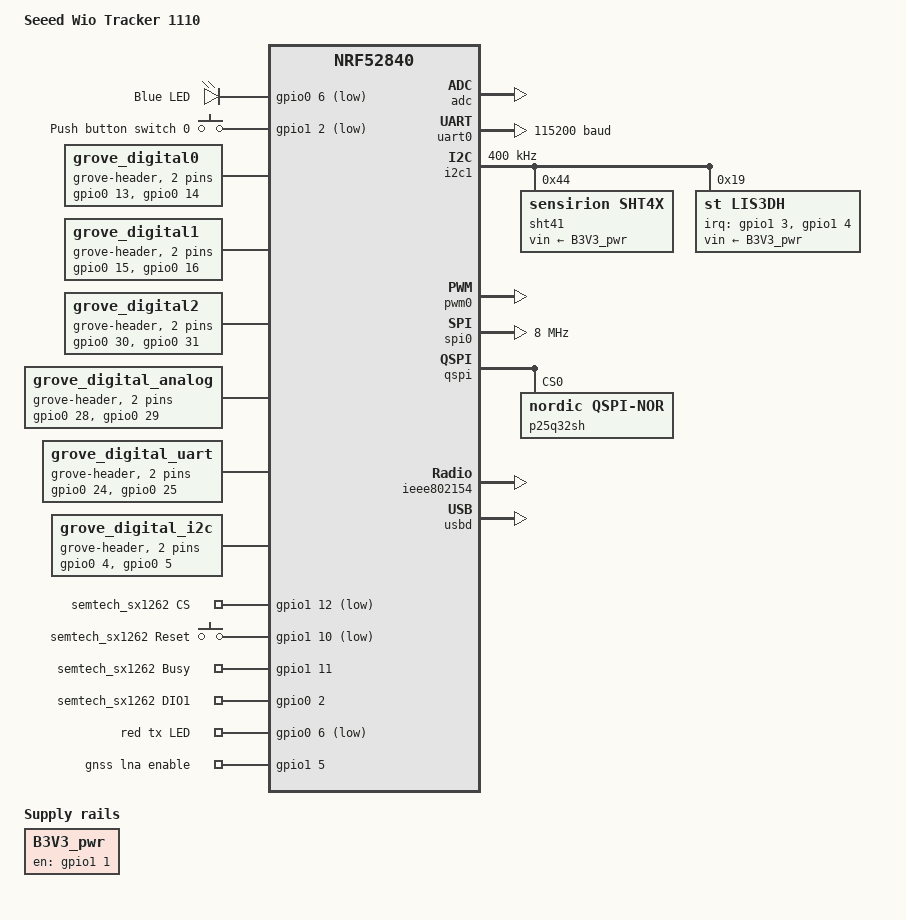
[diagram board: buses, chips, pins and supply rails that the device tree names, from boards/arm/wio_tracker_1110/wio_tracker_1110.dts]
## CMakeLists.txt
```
cmake_minimum_required(VERSION 3.20.0)

find_package(Zephyr REQUIRED HINTS $ENV{ZEPHYR_BASE})
project(wm1110-asset-tracker)

FILE(GLOB app_sources
    src/*.c
    src/sidewalk/*.c
    src/peripherals/*.c
)

target_sources(app PRIVATE ${app_sources})

zephyr_include_directories(
    include
)
```

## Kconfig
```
mainmenu "AWS IoT Sidewalk Asset Tracker"

menu "Asset Tracker"

config TRACKER_LOG
	bool
	default TRACKER
	imply LOG
	help
	  Asset Tracker log module

config BLE_CONN_TIMEOUT
        prompt "Sidewalk BLE connection timeout (s)"
        int
        default 240
        help
               Timeout for Sidewalk gateway to make connection for BLE uplinks.

config LONG_PRESS_PER_MS
        prompt "Long button press time (ms)"
        int
        default 10000
        help
               Period of time in ms for a button press to be considered a long press.

config IN_MOTION_PER_M
        prompt "In motion period (m)"
        int
        default 15
        help
               Time in seconds device will stay in the motion state from last motion event.

config MOTION_SCAN_PER_S
        prompt "Motion uplink period (s)"
        int
        default 240
        help
               Delay in seconds between scanning and uplinking when the device is in motion.

config STATIC_SCAN_PER_M
        prompt "Static uplink period (m)"
        int
        default 60
        help
               Delay in minutes between scanning and uplinking when the device is static.

config ASSET_TRACKER_CLI
        prompt "Enable the Asset Tracker serial shell CLI"
        bool
        default y
        help
               Enables(y) or disables(n) the zephyr shell for the Asset Tracker.

config GNSS_SCAN_MODE_STATIC
        prompt "Use STATIC GNSS scan mode for better accuracy"
        bool
        default n
        help
               When enabled, uses STATIC scan mode which performs longer scans
               (~30+ seconds) for better accuracy (10-50m).
               When disabled, uses MOBILE scan mode with multiple quick scans
               (~3-5 seconds each) optimized for moving objects.
               STATIC mode uses more power but provides better accuracy.

endmenu

module = TRACKER
module-str = Sidewalk Asset Tracker
source "${ZEPHYR_BASE}/subsys/logging/Kconfig.template.log_config"

source "Kconfig.zephyr"
```

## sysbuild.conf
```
#
# Copyright (c) 2024 Seeed Studio
#
# SPDX-License-Identifier: MIT-0
#

SB_CONFIG_PARTITION_MANAGER=y
```

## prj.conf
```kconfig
CONFIG_ASSET_TRACKER_CLI=y
CONFIG_TRACKER_LOG_LEVEL_DBG=y

# Use system workqueue for BT operations instead of dedicated BT Long WQ
# This avoids deadlock with CONFIG_LOG_MODE_IMMEDIATE + USB CDC ACM
CONFIG_BT_LONG_WQ=n

# Required for Sidewalk
CONFIG_STATIC_INIT_GNU=y
CONFIG_SMF=y

# Stack and Heap - required for crypto operations
CONFIG_SYSTEM_WORKQUEUE_STACK_SIZE=4096
CONFIG_HEAP_MEM_POOL_SIZE=4096
CONFIG_MBEDTLS_HEAP_SIZE=4096

# Sidewalk
CONFIG_SIDEWALK=y
# CONFIG_SIDEWALK_CRYPTO_PSA_KEY_STORAGE=n
CONFIG_SIDEWALK_THREAD_STACK_SIZE=8192
CONFIG_SIDEWALK_HEAP_SIZE=8192
CONFIG_SIDEWALK_LINK_MASK_LORA=y
CONFIG_SIDEWALK_SUBGHZ_SUPPORT=y
CONFIG_SIDEWALK_SUBGHZ_RADIO_LR1110=y
CONFIG_SIDEWALK_DFU=n
# CONFIG_SID_END_DEVICE_PERSISTENT_LINK_MASK=y

# GNSS Scan Mode: y=STATIC (longer scans, better accuracy), n=MOBILE (quick scans)
CONFIG_GNSS_SCAN_MODE_STATIC=n

CONFIG_SIDEWALK_LOG_LEVEL_INF=y
# CONFIG_SIDEWALK_LOG_LEVEL_OFF=y
# CONFIG_SIDEWALK_LOG_LEVEL_WRN=y
CONFIG_NVS_LOG_LEVEL_WRN=y
CONFIG_SIDEWALK_BLE_ADAPTER_LOG_LEVEL_OFF=y
CONFIG_BT_HCI_DRIVER_LOG_LEVEL_OFF=y
CONFIG_BT_HCI_CORE_LOG_LEVEL_OFF=y
CONFIG_SPI_BUS_LOG_LEVEL_OFF=y
# CONFIG_SPI_LOG_LEVEL_DBG=y


CONFIG_SIDEWALK_BLE_ADV_INT_TRANSITION=3600
CONFIG_SIDEWALK_BLE_ADV_INT_FAST=320
# CONFIG_BLE_CONN_TIMEOUT=1800


CONFIG_ADC_SHELL=n
CONFIG_DEVICE_SHELL=n
CONFIG_DEVMEM_SHELL=n
CONFIG_FLASH_SHELL=n
CONFIG_HWINFO_SHELL=n
CONFIG_I2C_SHELL=n
CONFIG_CLOCK_CONTROL_NRF_SHELL=n
CONFIG_REGULATOR_SHELL=n
CONFIG_SENSOR_SHELL=n

CONFIG_NEWLIB_LIBC_FLOAT_SCANF=n

CONFIG_GPIO=y
CONFIG_LED=y
CONFIG_SENSOR=y
CONFIG_ADC=y
CONFIG_I2C=y
CONFIG_SPI=y
CONFIG_REGULATOR=y
CONFIG_PM_DEVICE=y
CONFIG_SHT4X=y
CONFIG_LIS2DH=y

CONFIG_PINCTRL=y
CONFIG_GPIO_AS_PINRESET=y

CONFIG_STDOUT_CONSOLE=y
CONFIG_UART_CONSOLE=y
CONFIG_UART_LINE_CTRL=y
CONFIG_CONSOLE=y
CONFIG_SERIAL=y
CONFIG_LOG=y
CONFIG_LOG_BUFFER_SIZE=4096

CONFIG_RESET_ON_FATAL_ERROR=y
CONFIG_NEWLIB_LIBC=y
CONFIG_NEWLIB_LIBC_FLOAT_PRINTF=y
CONFIG_CBPRINTF_FP_SUPPORT=y
CONFIG_LOG_PRINTK=y
CONFIG_LOG_MODE_IMMEDIATE=y

CONFIG_USB_DEVICE_STACK=y
CONFIG_USB_CDC_ACM_LOG_LEVEL_OFF=y
CONFIG_USB_DEVICE_MANUFACTURER="Seeed Technology"
CONFIG_USB_DEVICE_PRODUCT="Asset Tracker"
CONFIG_USB_DEVICE_VID=0x2886
CONFIG_USB_DEVICE_PID=0x0052

CONFIG_SHELL=y
CONFIG_SHELL_PROMPT_UART="asset-tracker > "

CONFIG_BT_DEVICE_NAME="Sid Tracker"

CONFIG_RESET_ON_FATAL_ERROR=n
CONFIG_USE_DT_CODE_PARTITION=y
CONFIG_BUILD_OUTPUT_UF2=y
CONFIG_KERNEL_BIN_NAME="AssetTrackerDeviceApp"

CONFIG_PARTITION_MANAGER_ENABLED=y

# NVS settings storage - 64KB partition = 16 sectors of 4KB each
CONFIG_SETTINGS_NVS_SECTOR_COUNT=16

# # Debug logging for crypto/storage issues
# CONFIG_SIDEWALK_LOG_LEVEL_DBG=y
# CONFIG_SIDEWALK_CRYPTO_LOG_LEVEL_DBG=y
# CONFIG_NVS_LOG_LEVEL_DBG=y
# CONFIG_SETTINGS_LOG_LEVEL_DBG=y
# CONFIG_BT_SMP_LOG_LEVEL_DBG=y
# CONFIG_TRACKER_LOG_LEVEL_DBG=y

# Enable ED25519/EDDSA support in software crypto (since CC3XX is disabled for nRF52840)
CONFIG_PSA_WANT_ALG_PURE_EDDSA=y
CONFIG_PSA_WANT_ECC_TWISTED_EDWARDS_255=y
CONFIG_PSA_WANT_KEY_TYPE_ECC_KEY_PAIR_IMPORT=y

# Disable CC3XX signature driver (doesn't support ED25519 on nRF52840)
CONFIG_PSA_USE_CC3XX_ASYMMETRIC_SIGNATURE_DRIVER=n

# Use Oberon for ED25519 signatures
CONFIG_PSA_CRYPTO_DRIVER_OBERON=y

# Disable CC3XX drivers that don't support ED25519 on nRF52840
CONFIG_PSA_USE_CC3XX_ASYMMETRIC_SIGNATURE_DRIVER=n
CONFIG_PSA_USE_CC3XX_KEY_AGREEMENT_DRIVER=n
CONFIG_PSA_USE_CC3XX_ASYMMETRIC_ENCRYPTION_DRIVER=n
CONFIG_PSA_USE_CC3XX_KEY_MANAGEMENT_DRIVER=n
```

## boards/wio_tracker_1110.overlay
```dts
// &uart0 {
// 	status = "disabled";
// };

// &i2c0 {
// 	status = "disabled";
// };

// &pwm0 {
// 	status = "disabled";
// };

/ {
	/* LR1110 radio GPIOs - gpio-keys compatible auto-configures as INPUT */
	lr1110_gpios {
		compatible = "gpio-keys";

		lr1110_busy_gpios: busy {
			gpios = <&gpio1 11 GPIO_ACTIVE_HIGH>;
			label = "LR1110 Busy";
		};

		lr1110_event_gpios: event {
			gpios = <&gpio0 2 GPIO_ACTIVE_HIGH>;
			label = "LR1110 Event/DIO1";
		};
	};
};
```

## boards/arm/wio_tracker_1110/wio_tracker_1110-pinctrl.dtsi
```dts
/*
 * Copyright (c) 2022 Nordic Semiconductor
 * SPDX-License-Identifier: Apache-2.0
 */

&pinctrl {
	uart0_default: uart0_default {
		group1 {
			psels = <NRF_PSEL(UART_TX, 0, 25)>;
		};
		group2 {
			psels = <NRF_PSEL(UART_RX, 0, 24)>;
		bias-pull-up;
		};
	};

	uart0_sleep: uart0_sleep {
		group1 {
			psels = <NRF_PSEL(UART_TX, 0, 25)>,
			<NRF_PSEL(UART_RX, 0, 24)>;
		low-power-enable;
		};
	};

	i2c1_default: i2c1_default {
		group1 {
			psels = <NRF_PSEL(TWIM_SDA, 0, 5)>,
				<NRF_PSEL(TWIM_SCL, 0, 4)>;
		};
	};

	i2c1_sleep: i2c1_sleep {
		group1 {
			psels = <NRF_PSEL(TWIM_SDA, 0, 5)>,
				<NRF_PSEL(TWIM_SCL, 0, 4)>;
			low-power-enable;
		};
	};
	
	pwm0_default: pwm0_default {
		group1 {
			psels = <NRF_PSEL(PWM_OUT0, 0, 7)>;
			nordic,invert;
		};
	};

	pwm0_sleep: pwm0_sleep {
		group1 {
			psels = <NRF_PSEL(PWM_OUT0, 0, 7)>;
			low-power-enable;
		};
	};

	spi0_default: spi0_default {
		group1 {
			psels = <NRF_PSEL(SPIM_SCK, 1, 13)>,
					<NRF_PSEL(SPIM_MISO, 1, 15)>,
					<NRF_PSEL(SPIM_MOSI, 1, 14)>;
		};
	};

	spi0_sleep: spi0_sleep {
		group1 {
			psels = <NRF_PSEL(SPIM_SCK, 1, 13)>,
					<NRF_PSEL(SPIM_MISO, 1, 15)>,
					<NRF_PSEL(SPIM_MOSI, 1, 14)>;
			low-power-enable;
		};
	};

	qspi_default: qspi_default {
		group1 {
			psels = <NRF_PSEL(QSPI_SCK, 0, 19)>,
					<NRF_PSEL(QSPI_IO0, 0, 17)>,
					<NRF_PSEL(QSPI_IO1, 0, 22)>,
					<NRF_PSEL(QSPI_IO2, 0, 23)>,
					<NRF_PSEL(QSPI_IO3, 0, 21)>,
					<NRF_PSEL(QSPI_CSN, 0, 20)>;
			nordic,drive-mode = <NRF_DRIVE_H0H1>;
		};
	};

	qspi_sleep: qspi_sleep {
		group1 {
			psels = <NRF_PSEL(QSPI_SCK, 0, 19)>,
					<NRF_PSEL(QSPI_IO0, 0, 17)>,
					<NRF_PSEL(QSPI_IO1, 0, 22)>,
					<NRF_PSEL(QSPI_IO2, 0, 23)>,
					<NRF_PSEL(QSPI_IO3, 0, 21)>;
			low-power-enable;
		};
		group2 {
			psels = <NRF_PSEL(QSPI_CSN, 0, 20)>;
			low-power-enable;
			bias-pull-up;
		};
	};
};
```

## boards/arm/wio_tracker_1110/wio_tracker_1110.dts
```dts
/*
 * Copyright (c) 2017 Linaro Limited
 *
 * SPDX-License-Identifier: Apache-2.0
 */

/dts-v1/;
#include <nordic/nrf52840_qiaa.dtsi>
#include <zephyr/dt-bindings/gpio/gpio.h>
#include <zephyr/dt-bindings/led/led.h>
#include "wio_tracker_1110-pinctrl.dtsi"
#include <zephyr/dt-bindings/i2c/i2c.h>

/ {
	model = "Seeed Wio Tracker 1110";
	compatible = "seeed,wio-tracker-1110";

	chosen {
		zephyr,console = &usb_cdc_acm_uart;
		zephyr,shell-uart = &usb_cdc_acm_uart;
		// zephyr,uart-mcumgr = &usb_cdc_acm_uart;
		// zephyr,bt-mon-uart = &usb_cdc_acm_uart;
		// zephyr,bt-c2h-uart = &usb_cdc_acm_uart;
		nordic,pm-ext-flash = &p25q32sh;
		zephyr,sram = &sram0;
		zephyr,flash = &flash0;
		zephyr,code-partition = &slot0_partition;
		zephyr,ieee802154 = &ieee802154;
	};

	leds {
		compatible = "gpio-leds";
		led0: led_0 {
			gpios = <&gpio0 6 GPIO_ACTIVE_LOW>;
			label = "Blue LED";
		};
		/* The led `GROVE` is not controlled by MCU, 
		it's on when the power for Grove connectors are gated on via P1.01. */
	};

	buttons {
		compatible = "gpio-keys";
		button0: button_0 {
			gpios = <&gpio1 2 (GPIO_PULL_UP | GPIO_ACTIVE_LOW)>;
			label = "Push button switch 0";
		};
	};

	grove_digital0: grove_digital0 {
		compatible = "grove-header";
		#gpio-cells = <2>;
		gpio-map-mask = <0xffffffff 0xffffffc0>;
		gpio-map-pass-thru = <0 0x3f>;
		gpio-map = <0 0 &gpio0 13 0>,	/* D13 */
				<1 0 &gpio0 14 0>;		/* D14 */
	};

	grove_digital1: grove_digital1 {
		compatible = "grove-header";
		#gpio-cells = <2>;
		gpio-map-mask = <0xffffffff 0xffffffc0>;
		gpio-map-pass-thru = <0 0x3f>;
		gpio-map = <0 0 &gpio0 15 0>,	/* D15 */
				<1 0 &gpio0 16 0>;		/* D16 */
	};

	grove_digital2: grove_digital2 {
		compatible = "grove-header";
		#gpio-cells = <2>;
		gpio-map-mask = <0xffffffff 0xffffffc0>;
		gpio-map-pass-thru = <0 0x3f>;
		gpio-map = <0 0 &gpio0 30 0>,	/* D30 */
				<1 0 &gpio0 31 0>;		/* D31 */
	};

	/* use Analog header as digital pins */
	grove_digital_analog: grove_digital_analog {
		compatible = "grove-header";
		#gpio-cells = <2>;
		gpio-map-mask = <0xffffffff 0xffffffc0>;
		gpio-map-pass-thru = <0 0x3f>;
		gpio-map = <0 0 &gpio0 28 0>,	/* D28 */
				<1 0 &gpio0 29 0>;		/* D29 */
	};

	/* use UART header as digital pins */
	grove_digital_uart: grove_digital_uart {
		compatible = "grove-header";
		#gpio-cells = <2>;
		gpio-map-mask = <0xffffffff 0xffffffc0>;
		gpio-map-pass-thru = <0 0x3f>;
		gpio-map = <0 0 &gpio0 24 0>,	/* D24 */
				<1 0 &gpio0 25 0>;		/* D25 */
	};

	/* use I2C header as digital pins */
	grove_digital_i2c: grove_digital_i2c {
		compatible = "grove-header";
		#gpio-cells = <2>;
		gpio-map-mask = <0xffffffff 0xffffffc0>;
		gpio-map-pass-thru = <0 0x3f>;
		gpio-map = <0 0 &gpio0 4 0>,	/* D4 */
				<1 0 &gpio0 5 0>;		/* D5 */
	};

	semtech_gpios {
		compatible = "gpio-keys";
		semtech_sx1262_cs: cs {
			gpios = <&gpio1 12 GPIO_ACTIVE_LOW>;
			label = "semtech_sx1262 CS";
		};
		semtech_sx1262_reset_gpios: reset {
			gpios = <&gpio1 10 GPIO_ACTIVE_LOW>;
			label = "semtech_sx1262 Reset";
		};
		semtech_sx1262_busy_gpios: busy {
			gpios = <&gpio1 11 GPIO_ACTIVE_HIGH>;
			label = "semtech_sx1262 Busy";
		};
		/*semtech_sx1262_antenna_enable_gpios: antena_enable {
			gpios = <&gpio1 0xa GPIO_ACTIVE_HIGH>;
			label = "semtech_sx1262 Antena Enable";
		};*/
		semtech_sx1262_dio1_gpios: dio1 {
			gpios = <&gpio0 2 GPIO_ACTIVE_HIGH>;
			label = "semtech_sx1262 DIO1";
		};
		radio_led_tx: led_tx {
			gpios = <&gpio0 6 GPIO_ACTIVE_LOW>;
			label = "red tx LED";
		};
		/*radio_led_rx: led_rx {
			gpios = <&gpio0 0x1f GPIO_ACTIVE_HIGH>;
			label = "green rx LED";
		};
		radio_led_sniff: led_sniff {
			gpios = <&gpio1 0x5 GPIO_ACTIVE_HIGH>;
			label = "yellow LED";
		};*/
		radio_gnss_lna: gnss_lna {
			gpios = <&gpio1 5 GPIO_ACTIVE_HIGH>;
			label = "gnss lna enable";
		};
	};

	/* Regulators */
	B3V3_pwr: grove_power_3v3_en {
		compatible = "regulator-fixed";
		regulator-name = "grove_headers_power_3v3_enable";
		enable-gpios = <&gpio1 1 GPIO_ACTIVE_HIGH>;
		regulator-boot-on;
		startup-delay-us=<20000>;
		//delay needed to allow lis3dh to power up before driver init
	};

	/* These aliases are provided for compatibility with samples */
	aliases {
		led0 = &led0;
		sw0 = &button0;
		button0 = &button0;
		watchdog0 = &wdt0;
		spi-flash0 = &p25q32sh;
		accel0 = &lis3dh;
	};
};

&adc {
	status = "okay";
};

&gpiote {
	status = "okay";
};

&gpio0 {
	status = "okay";
};

&gpio1 {
	status = "okay";
};

grove_uart: &uart0 {
	compatible = "nordic,nrf-uarte";
	status = "okay";
	current-speed = <115200>;
	pinctrl-0 = <&uart0_default>;
	pinctrl-1 = <&uart0_sleep>;
	pinctrl-names = "default", "sleep";
};

grove_i2c: &i2c1 {
	compatible = "nordic,nrf-twim";
	status = "okay";
	pinctrl-0 = <&i2c1_default>;
	pinctrl-1 = <&i2c1_sleep>;
	pinctrl-names = "default", "sleep";
	clock-frequency = <I2C_BITRATE_FAST>;

	sht41: sht4x@44 {
		compatible = "sensirion,sht4x";
		reg = <0x44>;
		repeatability = <2>;	/* 2 = high -> 8.2 ms */
		vin-supply = < &B3V3_pwr >;
	};

	lis3dh: lis3dh@19 {
		compatible = "st,lis3dh", "st,lis2dh";
		reg = <0x19>;
		irq-gpios = <&gpio1 3 GPIO_ACTIVE_HIGH>,	/* P1.03 = INT1 */
				<&gpio1 4 GPIO_ACTIVE_HIGH>;		/* P1.04 = INT2 */
		// anym-on-int1;
		// disconnect-sdo-sa0-pull-up;
		vin-supply = < &B3V3_pwr >;
	};
};

&pwm0 {
	/* assigned to one of the trace pins temporarily */
	status = "okay";
	pinctrl-0 = <&pwm0_default>;
	pinctrl-1 = <&pwm0_sleep>;
	pinctrl-names = "default", "sleep";
};

sid_semtech: &spi0 {
	/* inside the WM1110 module */
	compatible = "nordic,nrf-spi";
	status = "okay";
	pinctrl-0 = <&spi0_default>;
	pinctrl-1 = <&spi0_sleep>;
	pinctrl-names = "default", "sleep";
	clock-frequency = <DT_FREQ_M(8)>;
};

&qspi {
	status = "okay";
	pinctrl-0 = <&qspi_default>;
	pinctrl-1 = <&qspi_sleep>;
	pinctrl-names = "default", "sleep";
	p25q32sh: p25q32sh@0 {
		compatible = "nordic,qspi-nor";
		reg = <0>;
		sck-frequency = <100000000>;
		quad-enable-requirements = "S2B1v1";
		jedec-id = [85 60 16];
		sfdp-bfp = [
			e5 20 f1 ff  ff ff ff 00  44 eb 08 6b  08 3b 80 bb
			ee ff ff ff  ff ff 00 ff  ff ff 00 ff  0c 20 0f 52
			10 d8 08 81
		];
		size = <33554432>;
		has-dpd;
		t-enter-dpd = <3000>;
		t-exit-dpd = <8000>;
	};
};

&ieee802154 {
	status = "okay";
};

&flash0 {

	partitions {
		compatible = "fixed-partitions";
		#address-cells = <1>;
		#size-cells = <1>;

		boot_mbr_partition: partition@0 {
			label = "boot_mbr";
			reg = <0x00000000 0x00001000>;
		};

		slot0_partition: partition@1000 {
			label = "code";
			reg = <0x00001000 0x00d0000>;
		};

		mfg_storage: partition@d0000 {
			label = "mfg_storage";
			reg = <0x000d0000 0x0001000>;
		};

		sidewalk_storage: partition@d1000 {
			label = "sidewalk_storage";
			reg = <0x000d1000 0x0001000>;
		};

		bootloader_partition: partition@f4000 {
			label = "bootloader";
			reg = <0x000f4000 0x00008000>;
		};

		storage_partition: partition@fc000 {
			label = "nvs";
			reg = <0x00fc000 0x00002000>;
		};

		bootloader_mbr_params_partition: partition@fe000 {
			label = "bootloader_mbr_params";
			reg = <0x000fe000 0x00001000>;
		};

		bootloader_settings_partition: partition@ff000 {
			label = "bootloader_settings";
			reg = <0x000ff000 0x00001000>;
		};

	};
};

zephyr_udc0: &usbd {
	compatible = "nordic,nrf-usbd";
	status = "okay";

	usb_cdc_acm_uart: cdc-acm-uart {
		compatible = "zephyr,cdc-acm-uart";
	};
};
```

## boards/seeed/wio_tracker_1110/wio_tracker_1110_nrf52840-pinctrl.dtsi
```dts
/*
 * Copyright (c) 2022 Nordic Semiconductor
 * SPDX-License-Identifier: Apache-2.0
 */

&pinctrl {
	uart0_default: uart0_default {
		group1 {
			psels = <NRF_PSEL(UART_TX, 0, 25)>;
		};
		group2 {
			psels = <NRF_PSEL(UART_RX, 0, 24)>;
			bias-pull-up;
		};
	};

	uart0_sleep: uart0_sleep {
		group1 {
			psels = <NRF_PSEL(UART_TX, 0, 25)>,
				<NRF_PSEL(UART_RX, 0, 24)>;
			low-power-enable;
		};
	};

	i2c1_default: i2c1_default {
		group1 {
			psels = <NRF_PSEL(TWIM_SDA, 0, 5)>,
				<NRF_PSEL(TWIM_SCL, 0, 4)>;
		};
	};

	i2c1_sleep: i2c1_sleep {
		group1 {
			psels = <NRF_PSEL(TWIM_SDA, 0, 5)>,
				<NRF_PSEL(TWIM_SCL, 0, 4)>;
			low-power-enable;
		};
	};

	pwm0_default: pwm0_default {
		group1 {
			psels = <NRF_PSEL(PWM_OUT0, 0, 7)>;
			nordic,invert;
		};
	};

	pwm0_sleep: pwm0_sleep {
		group1 {
			psels = <NRF_PSEL(PWM_OUT0, 0, 7)>;
			low-power-enable;
		};
	};

	spi0_default: spi0_default {
		group1 {
			psels = <NRF_PSEL(SPIM_SCK, 1, 13)>,
				<NRF_PSEL(SPIM_MISO, 1, 15)>,
				<NRF_PSEL(SPIM_MOSI, 1, 14)>;
		};
	};

	spi0_sleep: spi0_sleep {
		group1 {
			psels = <NRF_PSEL(SPIM_SCK, 1, 13)>,
				<NRF_PSEL(SPIM_MISO, 1, 15)>,
				<NRF_PSEL(SPIM_MOSI, 1, 14)>;
			low-power-enable;
		};
	};

	qspi_default: qspi_default {
		group1 {
			psels = <NRF_PSEL(QSPI_SCK, 0, 19)>,
				<NRF_PSEL(QSPI_IO0, 0, 17)>,
				<NRF_PSEL(QSPI_IO1, 0, 22)>,
				<NRF_PSEL(QSPI_IO2, 0, 23)>,
				<NRF_PSEL(QSPI_IO3, 0, 21)>,
				<NRF_PSEL(QSPI_CSN, 0, 20)>;
			nordic,drive-mode = <NRF_DRIVE_H0H1>;
		};
	};

	qspi_sleep: qspi_sleep {
		group1 {
			psels = <NRF_PSEL(QSPI_SCK, 0, 19)>,
				<NRF_PSEL(QSPI_IO0, 0, 17)>,
				<NRF_PSEL(QSPI_IO1, 0, 22)>,
				<NRF_PSEL(QSPI_IO2, 0, 23)>,
				<NRF_PSEL(QSPI_IO3, 0, 21)>;
			low-power-enable;
		};
		group2 {
			psels = <NRF_PSEL(QSPI_CSN, 0, 20)>;
			low-power-enable;
			bias-pull-up;
		};
	};
};
```

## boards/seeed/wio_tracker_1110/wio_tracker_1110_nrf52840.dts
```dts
/*
 * Copyright (c) 2017 Linaro Limited
 * Copyright (c) 2024 Seeed Studio
 *
 * SPDX-License-Identifier: Apache-2.0
 */

/dts-v1/;
#include <nordic/nrf52840_qiaa.dtsi>
#include <zephyr/dt-bindings/gpio/gpio.h>
#include <zephyr/dt-bindings/led/led.h>
#include "wio_tracker_1110_nrf52840-pinctrl.dtsi"
#include <zephyr/dt-bindings/i2c/i2c.h>
#include <zephyr/dt-bindings/lora_lbm/lr11xx.h>

/ {
	model = "Seeed Wio Tracker 1110";
	compatible = "seeed,wio-tracker-1110";

	chosen {
		zephyr,console = &usb_cdc_acm_uart;
		zephyr,shell-uart = &usb_cdc_acm_uart;
		nordic,pm-ext-flash = &p25q32sh;
		zephyr,sram = &sram0;
		zephyr,flash = &flash0;
		zephyr,code-partition = &slot0_partition;
		zephyr,ieee802154 = &ieee802154;
		zephyr,lora-transceiver = &lora_lr1110;
	};

	leds {
		compatible = "gpio-leds";
		led0: led_0 {
			gpios = <&gpio0 6 GPIO_ACTIVE_LOW>;
			label = "Blue LED";
		};
	};

	buttons {
		compatible = "gpio-keys";
		button0: button_0 {
			gpios = <&gpio1 2 (GPIO_PULL_UP | GPIO_ACTIVE_LOW)>;
			label = "Push button switch 0";
			zephyr,code = <11>;
		};
	};

	grove_digital0: grove_digital0 {
		compatible = "grove-header";
		#gpio-cells = <2>;
		gpio-map-mask = <0xffffffff 0xffffffc0>;
		gpio-map-pass-thru = <0 0x3f>;
		gpio-map = <0 0 &gpio0 13 0>,
				<1 0 &gpio0 14 0>;
	};

	grove_digital1: grove_digital1 {
		compatible = "grove-header";
		#gpio-cells = <2>;
		gpio-map-mask = <0xffffffff 0xffffffc0>;
		gpio-map-pass-thru = <0 0x3f>;
		gpio-map = <0 0 &gpio0 15 0>,
				<1 0 &gpio0 16 0>;
	};

	grove_digital2: grove_digital2 {
		compatible = "grove-header";
		#gpio-cells = <2>;
		gpio-map-mask = <0xffffffff 0xffffffc0>;
		gpio-map-pass-thru = <0 0x3f>;
		gpio-map = <0 0 &gpio0 30 0>,
				<1 0 &gpio0 31 0>;
	};

	grove_digital_analog: grove_digital_analog {
		compatible = "grove-header";
		#gpio-cells = <2>;
		gpio-map-mask = <0xffffffff 0xffffffc0>;
		gpio-map-pass-thru = <0 0x3f>;
		gpio-map = <0 0 &gpio0 28 0>,
				<1 0 &gpio0 29 0>;
	};

	grove_digital_uart: grove_digital_uart {
		compatible = "grove-header";
		#gpio-cells = <2>;
		gpio-map-mask = <0xffffffff 0xffffffc0>;
		gpio-map-pass-thru = <0 0x3f>;
		gpio-map = <0 0 &gpio0 24 0>,
				<1 0 &gpio0 25 0>;
	};

	grove_digital_i2c: grove_digital_i2c {
		compatible = "grove-header";
		#gpio-cells = <2>;
		gpio-map-mask = <0xffffffff 0xffffffc0>;
		gpio-map-pass-thru = <0 0x3f>;
		gpio-map = <0 0 &gpio0 4 0>,
				<1 0 &gpio0 5 0>;
	};

	/* Regulators */
	B3V3_pwr: grove_power_3v3_en {
		compatible = "regulator-fixed";
		regulator-name = "grove_headers_power_3v3_enable";
		enable-gpios = <&gpio1 1 GPIO_ACTIVE_HIGH>;
		regulator-boot-on;
		startup-delay-us = <20000>;
	};

	/* These aliases are provided for compatibility with samples */
	aliases {
		led0 = &led0;
		sw0 = &button0;
		button0 = &button0;
		watchdog0 = &wdt0;
		spi-flash0 = &p25q32sh;
		accel0 = &lis3dh;
		lora-transceiver = &lora_lr1110;
	};
};

&adc {
	status = "okay";
};

&gpiote {
	status = "okay";
};

&gpio0 {
	status = "okay";
};

&gpio1 {
	status = "okay";
};

grove_uart: &uart0 {
	compatible = "nordic,nrf-uarte";
	status = "okay";
	current-speed = <115200>;
	pinctrl-0 = <&uart0_default>;
	pinctrl-1 = <&uart0_sleep>;
	pinctrl-names = "default", "sleep";
};

grove_i2c: &i2c1 {
	compatible = "nordic,nrf-twim";
	status = "okay";
	pinctrl-0 = <&i2c1_default>;
	pinctrl-1 = <&i2c1_sleep>;
	pinctrl-names = "default", "sleep";
	clock-frequency = <I2C_BITRATE_FAST>;

	sht41: sht4x@44 {
		compatible = "sensirion,sht4x";
		reg = <0x44>;
		repeatability = <2>;
		vin-supply = <&B3V3_pwr>;
	};

	lis3dh: lis3dh@19 {
		compatible = "st,lis3dh", "st,lis2dh";
		reg = <0x19>;
		irq-gpios = <&gpio1 3 GPIO_ACTIVE_HIGH>,
				<&gpio1 4 GPIO_ACTIVE_HIGH>;
		vin-supply = <&B3V3_pwr>;
	};
};

&pwm0 {
	status = "okay";
	pinctrl-0 = <&pwm0_default>;
	pinctrl-1 = <&pwm0_sleep>;
	pinctrl-names = "default", "sleep";
};

sid_semtech: &spi0 {
	compatible = "nordic,nrf-spi";
	status = "okay";
	pinctrl-0 = <&spi0_default>;
	pinctrl-1 = <&spi0_sleep>;
	pinctrl-names = "default", "sleep";
	clock-frequency = <DT_FREQ_M(8)>;
	cs-gpios = <&gpio1 12 GPIO_ACTIVE_LOW>;

	lora_semtech_lr11xxmb1xxs: lora_lr1110: lora@0 {
		compatible = "semtech,lr1110";
		reg = <0>;
		spi-max-frequency = <DT_FREQ_M(8)>;

		reset-gpios = <&gpio1 10 GPIO_ACTIVE_LOW>;
		busy-gpios = <&gpio1 11 GPIO_ACTIVE_HIGH>;
		event-gpios = <&gpio0 2 (GPIO_ACTIVE_HIGH | GPIO_PULL_DOWN)>;
		gnss-lna-gpios = <&gpio1 5 GPIO_ACTIVE_HIGH>;

		lf-tx-path = <LR11XX_TX_PATH_LF_LP_HP>;
		lf-clk = <LR11XX_LFCLK_XTAL>;
		reg-mode = <LR11XX_REG_MODE_DCDC>;

		rf-sw-enable = <(LR11XX_DIO5 | LR11XX_DIO6 | LR11XX_DIO7)>;
		rf-sw-rx-mode = <LR11XX_DIO5>;
		rf-sw-tx-mode = <(LR11XX_DIO5 | LR11XX_DIO6)>;
		rf-sw-tx-hp-mode = <LR11XX_DIO6>;
		rf-sw-gnss-mode = <LR11XX_DIO7>;

		tcxo-voltage = <LR11XX_TCXO_SUPPLY_1_8V>;
		tcxo-wakeup-time = <5>;

		/* SWDR006 PA power config: <power, pa_duty_cycle, pa_hp_sel> */
		/* LP PA used for -9dBm to +15dBm, HP PA for +16dBm to +22dBm */
		tx-power-cfg-lf-lp =
			/* Expected output power from -17dBm to +15dBm (33 entries) */
			< ( -6) 0x00 0x00>,  /* -17dBm: maps to -9 in SWDR006 */
			< ( -6) 0x00 0x00>,  /* -16dBm */
			< ( -6) 0x00 0x00>,  /* -15dBm */
			< ( -6) 0x00 0x00>,  /* -14dBm */
			< ( -6) 0x00 0x00>,  /* -13dBm */
			< ( -6) 0x00 0x00>,  /* -12dBm */
			< ( -6) 0x00 0x00>,  /* -11dBm */
			< ( -6) 0x00 0x00>,  /* -10dBm */
			< ( -6) 0x00 0x00>,  /* -9dBm */
			< ( -5) 0x00 0x00>,  /* -8dBm */
			< ( -4) 0x00 0x00>,  /* -7dBm */
			< ( -3) 0x00 0x00>,  /* -6dBm */
			< ( -2) 0x00 0x00>,  /* -5dBm */
			< ( -1) 0x00 0x00>,  /* -4dBm */
			< (  0) 0x00 0x00>,  /* -3dBm */
			< (  1) 0x00 0x00>,  /* -2dBm */
			< (  2) 0x00 0x00>,  /* -1dBm */
			< (  3) 0x00 0x00>,  /* 0dBm */
			< (  3) 0x00 0x00>,  /* 1dBm */
			< (  4) 0x00 0x00>,  /* 2dBm */
			< (  7) 0x00 0x00>,  /* 3dBm */
			< (  8) 0x00 0x00>,  /* 4dBm */
			< (  9) 0x00 0x00>,  /* 5dBm */
			< ( 10) 0x00 0x00>,  /* 6dBm */
			< ( 12) 0x00 0x00>,  /* 7dBm */
			< ( 13) 0x00 0x00>,  /* 8dBm */
			< ( 14) 0x00 0x00>,  /* 9dBm */
			< ( 14) 0x01 0x00>,  /* 10dBm */
			< ( 13) 0x02 0x00>,  /* 11dBm */
			< ( 14) 0x02 0x00>,  /* 12dBm */
			< ( 14) 0x04 0x00>,  /* 13dBm */
			< ( 14) 0x05 0x00>,  /* 14dBm */
			< ( 14) 0x07 0x00>;  /* 15dBm */

		tx-power-cfg-lf-hp =
			/* Expected output power from -9dBm to +22dBm (32 entries) */
			< ( -6) 0x00 0x00>,  /* -9dBm */
			< ( -5) 0x00 0x00>,  /* -8dBm */
			< ( -4) 0x00 0x00>,  /* -7dBm */
			< ( -3) 0x00 0x00>,  /* -6dBm */
			< ( -2) 0x00 0x00>,  /* -5dBm */
			< ( -1) 0x00 0x00>,  /* -4dBm */
			< (  0) 0x00 0x00>,  /* -3dBm */
			< (  1) 0x00 0x00>,  /* -2dBm */
			< (  2) 0x00 0x00>,  /* -1dBm */
			< (  3) 0x00 0x00>,  /* 0dBm */
			< (  3) 0x00 0x00>,  /* 1dBm */
			< (  4) 0x00 0x00>,  /* 2dBm */
			< (  7) 0x00 0x00>,  /* 3dBm */
			< (  8) 0x00 0x00>,  /* 4dBm */
			< (  9) 0x00 0x00>,  /* 5dBm */
			< ( 10) 0x00 0x00>,  /* 6dBm */
			< ( 12) 0x00 0x00>,  /* 7dBm */
			< ( 13) 0x00 0x00>,  /* 8dBm */
			< ( 14) 0x00 0x00>,  /* 9dBm */
			< ( 14) 0x01 0x00>,  /* 10dBm */
			< ( 13) 0x02 0x00>,  /* 11dBm */
			< ( 14) 0x02 0x00>,  /* 12dBm */
			< ( 14) 0x04 0x00>,  /* 13dBm */
			< ( 14) 0x05 0x00>,  /* 14dBm */
			< ( 14) 0x07 0x00>,  /* 15dBm */
			< ( 22) 0x03 0x03>,  /* 16dBm - HP PA starts here */
			< ( 22) 0x04 0x03>,  /* 17dBm */
			< ( 22) 0x02 0x05>,  /* 18dBm */
			< ( 22) 0x05 0x04>,  /* 19dBm */
			< ( 22) 0x03 0x07>,  /* 20dBm */
			< ( 22) 0x04 0x07>,  /* 21dBm */
			< ( 22) 0x04 0x07>;  /* 22dBm */

		tx-power-cfg-hf =
			< (-18) 0x04 0x00>,
			< (-18) 0x04 0x00>,
			< (-17) 0x04 0x00>,
			< (-16) 0x04 0x00>,
			< (-15) 0x04 0x00>,
			< (-14) 0x04 0x00>,
			< (-14) 0x04 0x00>,
			< (-12) 0x04 0x00>,
			< (-10) 0x04 0x00>,
			< ( -9) 0x04 0x00>,
			< ( -8) 0x04 0x00>,
			< ( -7) 0x04 0x00>,
			< ( -6) 0x04 0x00>,
			< ( -5) 0x04 0x00>,
			< ( -4) 0x04 0x00>,
			< ( -3) 0x04 0x00>,
			< ( -2) 0x03 0x00>,
			< ( -1) 0x04 0x00>,
			< (  0) 0x04 0x00>,
			< (  1) 0x00 0x00>,
			< (  2) 0x00 0x00>,
			< (  4) 0x04 0x00>,
			< (  5) 0x04 0x00>,
			< (  6) 0x04 0x00>,
			< (  7) 0x04 0x00>,
			< (  8) 0x04 0x00>,
			< (  9) 0x04 0x00>,
			< ( 10) 0x04 0x00>,
			< ( 11) 0x04 0x00>,
			< ( 12) 0x03 0x00>,
			< ( 13) 0x04 0x00>,
			< ( 13) 0x00 0x00>;

		rssi-calibration-lf-offset = <0>;
		rssi-calibration-lf-tune = <12 12 14 0 1 3 4 4 3 6 6 6 6 6 6 6 6>;

		rssi-calibration-mf-offset = <0>;
		rssi-calibration-mf-tune = <2 2 2 3 3 4 5 4 4 6 5 5 6 6 6 7 6>;

		rssi-calibration-hf-offset = <2030>;
		rssi-calibration-hf-tune = <6 7 6 4 3 4 14 12 14 12 12 12 12 8 8 9 9>;
	};
};

&qspi {
	status = "okay";
	pinctrl-0 = <&qspi_default>;
	pinctrl-1 = <&qspi_sleep>;
	pinctrl-names = "default", "sleep";
	p25q32sh: p25q32sh@0 {
		compatible = "nordic,qspi-nor";
		reg = <0>;
		sck-frequency = <100000000>;
		quad-enable-requirements = "S2B1v1";
		jedec-id = [85 60 16];
		sfdp-bfp = [
			e5 20 f1 ff  ff ff ff 00  44 eb 08 6b  08 3b 80 bb
			ee ff ff ff  ff ff 00 ff  ff ff 00 ff  0c 20 0f 52
			10 d8 08 81
		];
		size = <33554432>;
		has-dpd;
		t-enter-dpd = <3000>;
		t-exit-dpd = <8000>;
	};
};

&ieee802154 {
	status = "okay";
};

&flash0 {
	partitions {
		compatible = "fixed-partitions";
		#address-cells = <1>;
		#size-cells = <1>;

		boot_mbr_partition: partition@0 {
			label = "boot_mbr";
			reg = <0x00000000 0x00001000>;
		};

		slot0_partition: partition@1000 {
			label = "code";
			reg = <0x00001000 0x000cf000>;
		};

		mfg_storage: partition@d0000 {
			label = "mfg_storage";
			reg = <0x000d0000 0x00001000>;
		};

		sidewalk_storage: partition@d1000 {
			label = "sidewalk_storage";
			reg = <0x000d1000 0x00001000>;
		};

		storage_partition: partition@d2000 {
			label = "storage";
			reg = <0x000d2000 0x00010000>;
		};

		hw_unique_key_partition: partition@f3000 {
			label = "hw_unique_key";
			reg = <0x000f3000 0x00001000>;
		};

		bootloader_partition: partition@f4000 {
			label = "bootloader";
			reg = <0x000f4000 0x00008000>;
		};

		bootloader_mbr_params_partition: partition@fe000 {
			label = "bootloader_mbr_params";
			reg = <0x000fe000 0x00001000>;
		};

		bootloader_settings_partition: partition@ff000 {
			label = "bootloader_settings";
			reg = <0x000ff000 0x00001000>;
		};
	};
};

zephyr_udc0: &usbd {
	compatible = "nordic,nrf-usbd";
	status = "okay";

	usb_cdc_acm_uart: cdc-acm-uart {
		compatible = "zephyr,cdc-acm-uart";
	};
};
```

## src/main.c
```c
// Copyright Amazon.com, Inc. or its affiliates. All Rights Reserved.
// SPDX-License-Identifier: MIT-0

#include "asset_tracker.h"

#include <zephyr/kernel.h>

#include "peripherals/at_led.h"
#include "peripherals/at_button.h"
#include "peripherals/at_sht41.h"
#include "peripherals/at_lis3dh.h"
#include "peripherals/at_usb.h"

#include <zephyr/logging/log.h>
LOG_MODULE_REGISTER(main, CONFIG_TRACKER_LOG_LEVEL);

/* 1000 msec = 1 sec */
#define LED_FAST   100
#define LED_WS	   2000
#define LED_SLOW   1000

int main(void)
{
	init_at_usb();
	#if defined(CONFIG_LOG)
	k_msleep(2000);  //wait for a couple of sec for the serial terminal to reconnect
	#endif

	init_at_led();
	init_at_button();
	init_at_sht41();
	init_at_lis3dh();

	LOG_INF("Starting Sidewalk Asset Tracker...");

	if (at_thread_init()) {
		LOG_ERR("Failed to start asset tracker thread");
	}

	while (1) {
		if(button_long_press == true) { 
			at_led_toggle();
			k_msleep(LED_FAST);
		} else {
			at_led_toggle();
			k_msleep(LED_SLOW);
		}
	}
	return 0;
}
```

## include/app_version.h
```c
/*
 * Copyright (c) 2024 Amazon.com, Inc. or its affiliates. All Rights Reserved.
 * SPDX-License-Identifier: MIT-0
 */

#ifndef APP_VERSION_H
#define APP_VERSION_H

#define APP_VERSION_MAJOR 2
#define APP_VERSION_MINOR 0
#define APP_VERSION_PATCH 0

#define APP_VERSION_STRING "2.0.0"

#endif /* APP_VERSION_H */
```

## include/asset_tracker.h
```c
// Copyright Amazon.com, Inc. or its affiliates. All Rights Reserved.
// SPDX-License-Identifier: MIT-0

#ifndef ASSET_TRACKER_H
#define ASSET_TRACKER_H

#include <sid_api.h>

#define BLE_LM (uint32_t)(SID_LINK_TYPE_1)
#define FSK_LM (uint32_t)(SID_LINK_TYPE_2)
#define LORA_LM (uint32_t)(SID_LINK_TYPE_3)

#define DEFAULT_AUTO_SCAN_INTERVAL		30		/* seconds */

#define MAX_PAYLOAD_SIZE 19 			// Max payload size limited to Sidewalk CSS limit

#define RECEIVE_TASK_STACK_SIZE (4096)
#define RECEIVE_TASK_PRIORITY (CONFIG_SIDEWALK_THREAD_PRIORITY + 1)

#define LINK_DOWN 0
#define LINK_UP 1

/**
 * Sensor telemetry data structure
 */
struct at_sensors {
	uint8_t batt;
	double temp;
	double hum;
	double max_accel_x;
	double max_accel_y;
	double max_accel_z;
	double peak_accel;
};

/**
 * Sidewalk connection states
 */
enum at_sidewalk_state {
	STATE_SIDEWALK_INIT,
	STATE_SIDEWALK_READY,
	STATE_SIDEWALK_NOT_READY,
	STATE_SIDEWALK_SECURE_CONNECTION,
};

/**
 * Application states
 */
enum at_state {
	AT_STATE_INIT,
	AT_STATE_RUN
};

/**
 * Link status tracking
 */
struct link_status {
	enum sid_time_sync_status time_sync_status;
	uint32_t link_status_mask;
	uint32_t supported_link_mode[SID_LINK_TYPE_MAX_IDX];
};

/**
 * Application configuration
 */
struct at_config {
	uint16_t max_rec;
	uint32_t sid_link_type;
	uint8_t motion_period;
	uint8_t scan_freq_motion;
	uint8_t motion_thres;
	uint8_t scan_freq_static;
};

/**
 * Main application context
 */
typedef struct at_context {
	struct sid_event_callbacks event_callbacks;
	struct sid_config sidewalk_config;
	struct sid_handle *handle;
	enum at_sidewalk_state sidewalk_state;
	struct link_status link_status;
	bool sidewalk_registered;
	bool stack_started;
	bool ble_location_pending;  // Waiting for BLE ready to trigger L1 location
	enum at_state state;
	bool connection_request;
	bool motion;
	uint8_t total_msg;
	uint8_t cur_msg;
	struct at_sensors sensors;
	struct at_config at_conf;
} at_ctx_t;

/**
 * Application events - simplified for SDK-based location
 */
typedef enum at_events {
	SIDEWALK_EVENT,
	BUTTON_EVENT_SHORT,
	BUTTON_EVENT_LONG,
	MOTION_EVENT,
	EVENT_RADIO_SWITCH,
	EVENT_BLE_CONNECTION_REQUEST,
	EVENT_BLE_CONNECTION_WAIT,
	EVENT_SCAN_LOC,           // Triggers SDK location scan
	EVENT_SEND_UPLINK,        // Send sensor telemetry
	EVENT_SCAN_SENSORS,
	EVENT_CONFIG_UPDATE,
	EVENT_SID_START,
	EVENT_SID_STOP,
	EVENT_UPLINK_COMPLETE,
	EVENT_BLE_LOCATION_START,   // Switch to BLE-only mode for L1 location
	EVENT_BLE_LOCATION_READY,   // BLE stack ready, trigger L1 location
	EVENT_RESTORE_FULL_STACK,   // Restore full stack after BLE location
	EVENT_FACTORY_RESET,        // Factory reset - clears Sidewalk registration
} at_event_t;

/**
 * Received message structure
 */
struct at_rx_msg {
	uint16_t msg_id;
	size_t pld_size;
	uint8_t rx_payload[MAX_PAYLOAD_SIZE];
};

/* Public API */
void at_event_send(at_event_t event);
void at_rx_task_msg_q_write(struct at_rx_msg *rx_msg);
sid_error_t at_thread_init(void);

#endif /* ASSET_TRACKER_H */
```

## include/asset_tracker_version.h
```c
// Copyright Amazon.com, Inc. or its affiliates. All Rights Reserved.
// SPDX-License-Identifier: MIT-0

#ifndef ASSET_TRACKER_VERSION_H
#define ASSET_TRACKER_VERSION_H

#include <stdint.h>
#include <stddef.h>

#if defined(CONFIG_LOG)
#define PRINT_AWSIOT_LOGO()                                                                            \
    LOG_PRINTK("          ↑↑↑                                                                    \n"); \
    LOG_PRINTK("       ↑↑↑   ↑↑↑                                                                 \n"); \
    LOG_PRINTK("    ↑↑↑   ↑↑↑   ↑↑↑          ↑↑    ↑↑   ↑   ↑↑    ↑↑↑        ↑↑          ↑↑↑↑↑↑↑↑\n"); \
    LOG_PRINTK("   ↑↑      ↑      ↑↑        ↑↑↑↑   ↑↑  ↑↑↑  ↑↑ ↑↑↑  ↑↑↑      ↑↑             ↑↑   \n"); \
    LOG_PRINTK(" ↑↑  ↑↑↑↑↑ ↑ ↑↑↑↑↑  ↑↑     ↑↑ ↑↑   ↑↑  ↑↑↑  ↑↑  ↑↑↑          ↑↑    ↑↑↑      ↑↑   \n"); \
    LOG_PRINTK("   ↑↑    ↑ ↑ ↑    ↑↑      ↑↑↑  ↑↑   ↑↑↑↑ ↑↑↑↑      ↑↑↑↑      ↑↑  ↑↑   ↑↑    ↑↑   \n"); \
    LOG_PRINTK("    ↑↑↑  ↑ ↑ ↑  ↑↑↑      ↑↑↑↑↑↑↑↑↑  ↑↑↑   ↑↑↑  ↑↑↑   ↑↑      ↑↑  ↑↑   ↑↑    ↑↑   \n"); \
    LOG_PRINTK("      ↑↑↑↑↑↑↑↑↑↑↑        ↑↑     ↑↑   ↑↑   ↑↑     ↑↑↑↑        ↑↑    ↑↑↑      ↑↑   \n"); \
    LOG_PRINTK("         ↑ ↑ ↑                                                                   \n")

#define PRINT_AT_VERSION()                                                                             \
    LOG_PRINTK("=================================================================================\n"); \
    LOG_PRINTK("||                      Sidewalk Asset Tracker Example                         ||\n"); \
    LOG_PRINTK("=================================================================================\n"); \
    LOG_PRINTK("App Version         = v1.0 (NCS v3.2.1)\n");                                          \
    LOG_PRINTK("Build Time          = %s %s\n", __DATE__, __TIME__);                                   \
    LOG_PRINTK("---------------------------------------------------------------------------------\n");

#define PRINT_LR_VERSION()                                                                             \
    LOG_PRINTK("LR11XX Type         = 0x%02X\n", version_trx.type );                                   \
    LOG_PRINTK("       HW Version   = 0x%02X\n", version_trx.hw );                                     \
    LOG_PRINTK("       FW Version   = 0x%02X\n", version_trx.fw );                                     \
    LOG_PRINTK("---------------------------------------------------------------------------------\n");

#else
#define PRINT_AWSIOT_LOGO()
#define PRINT_AT_VERSION()
#define PRINT_LR_VERSION()
#endif /* CONFIG_LOG */

#endif /* ASSET_TRACKER_VERSION_H */
```

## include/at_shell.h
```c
// Copyright Amazon.com, Inc. or its affiliates. All Rights Reserved.
// SPDX-License-Identifier: MIT-0

#ifndef AT_SHELL_H
#define AT_SHELL_H

#include <asset_tracker.h>

#define CMD_RETURN_OK 0
#define CMD_RETURN_HELP 1
#define CMD_RETURN_ARGUMENT_INVALID -EINVAL
#define CMD_RETURN_NOT_EXECUTED -ENOEXEC

#ifndef IN_RANGE
#define IN_RANGE(val, min, max) ((val >= min) && (val <= max))
#endif

void AT_CLI_init(at_ctx_t *at_context);

#endif /* AT_SHELL_H */
```

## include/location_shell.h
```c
/*
 * Copyright Amazon.com, Inc. or its affiliates. All Rights Reserved.
 * SPDX-License-Identifier: MIT-0
 * 
 * Location shell commands for WM1110 Asset Tracker
 * Adapted from Nordic sid_end_device sample
 */

#ifndef LOCATION_SHELL_H
#define LOCATION_SHELL_H

#include <stdint.h>
#include <zephyr/shell/shell.h>
#include <asset_tracker.h>

/* Location Command Descriptions */
#define CMD_LOCATION_INIT_DESCRIPTION "Initialize sidewalk location library"

#define CMD_LOCATION_DEINIT_DESCRIPTION "Deinitialize sidewalk location library"

#define CMD_LOCATION_SEND_DESCRIPTION                                                              \
	"<LOCATION_LEVEL>\n"                                                                       \
	"Send a location uplink at the specified level 1-4.\n"                                     \
	"No level = automatic scaling mode (lowest power first)\n"                                 \
	"1 - BLE Uplink using Sidewalk Network location\n"                                         \
	"    (temporarily switches to BLE-only mode)\n"                                            \
	"2 - LoRa Triangulation (not supported)\n"                                                 \
	"3 - WiFi scan\n"                                                                          \
	"4 - GNSS"

#define CMD_LOCATION_SCAN_DESCRIPTION                                                              \
	"<LOCATION_LEVEL>\n"                                                                       \
	"Scan only (no send) at the specified level 1-4.\n"                                        \
	"No level = automatic scaling mode\n"                                                      \
	"1 - BLE (no scan, use 'location send 1' instead)\n"                                       \
	"2 - LoRa Triangulation (not supported)\n"                                                 \
	"3 - WiFi scan\n"                                                                          \
	"4 - GNSS"

#define CMD_LOCATION_STATUS_DESCRIPTION "Show location service status"

/* Argument counts */
#define CMD_LOCATION_INIT_ARG_REQUIRED 1
#define CMD_LOCATION_INIT_ARG_OPTIONAL 0

#define CMD_LOCATION_DEINIT_ARG_REQUIRED 1
#define CMD_LOCATION_DEINIT_ARG_OPTIONAL 0

#define CMD_LOCATION_SEND_ARG_REQUIRED 1
#define CMD_LOCATION_SEND_ARG_OPTIONAL 1

#define CMD_LOCATION_SCAN_ARG_REQUIRED 1
#define CMD_LOCATION_SCAN_ARG_OPTIONAL 1

#define CMD_LOCATION_STATUS_ARG_REQUIRED 1
#define CMD_LOCATION_STATUS_ARG_OPTIONAL 0

/* Initialize location shell with asset tracker context */
void location_shell_init(at_ctx_t *ctx);

/* Trigger BLE L1 location after stack is ready in BLE-only mode */
void location_shell_trigger_ble_location(void);

/* Shell command handlers */
int cmd_location_init(const struct shell *shell, int32_t argc, const char **argv);
int cmd_location_deinit(const struct shell *shell, int32_t argc, const char **argv);
int cmd_location_send(const struct shell *shell, int32_t argc, const char **argv);
int cmd_location_scan(const struct shell *shell, int32_t argc, const char **argv);
int cmd_location_status(const struct shell *shell, int32_t argc, const char **argv);

#endif /* LOCATION_SHELL_H */
```

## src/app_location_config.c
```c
/*
 * Local override for LR1110 GNSS/WiFi location configuration
 * This file overrides the default config in the Sidewalk SDK
 */

#include <app_location_lr11xx_config.h>
#include <lr11xx_gnss_wifi_config.h>
#include <smtc_modem_geolocation_api.h>

/*
 * GNSS Scan Mode Options:
 *   SMTC_MODEM_GNSS_MODE_MOBILE - Multiple quick scans (~3-5 sec each), for moving objects
 *   SMTC_MODEM_GNSS_MODE_STATIC - Longer single scan (~30+ sec), better accuracy
 *
 * Constellation Options:
 *   SMTC_MODEM_GNSS_CONSTELLATION_GPS        - GPS only
 *   SMTC_MODEM_GNSS_CONSTELLATION_BEIDOU     - BeiDou only
 *   SMTC_MODEM_GNSS_CONSTELLATION_GPS_BEIDOU - Both (more satellites, better coverage)
 *
 * To change scan mode, set CONFIG_GNSS_SCAN_MODE_STATIC=y in prj.conf
 */

#ifdef CONFIG_GNSS_SCAN_MODE_STATIC
#define GNSS_SCAN_MODE SMTC_MODEM_GNSS_MODE_STATIC
#else
#define GNSS_SCAN_MODE SMTC_MODEM_GNSS_MODE_MOBILE
#endif

static lr11xx_gnss_wifi_config_t gnss_wifi_config = {
	.constellation_type = SMTC_MODEM_GNSS_CONSTELLATION_GPS_BEIDOU,
	.scan_mode = GNSS_SCAN_MODE
};

const lr11xx_gnss_wifi_config_t *get_location_cfg(void)
{
	return &gnss_wifi_config;
}
```

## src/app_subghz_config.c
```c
/*
 * Local override for LR1110 Sub-GHz link configuration
 * This file overrides the default config in the Sidewalk SDK
 * 
 * Key changes from SDK defaults:
 *   - Max TX power increased from 20dBm to 22dBm (hardware max)
 *   - Antenna gain set to -1dBi (Wio Tracker 1110 onboard antenna)
 * 
 * The Wio Tracker 1110 has a low-gain onboard antenna (-1dBi), so we need
 * the full +22dBm TX power to compensate and achieve adequate link budget.
 */

#include <app_subGHz_config.h>

/* Hardware maximum TX power for LR1110 */
#define RADIO_MAX_TX_POWER_WIO 22

/* Antenna gain macro: converts dBi to internal format (dBi * 100) */
#define RADIO_ANT_GAIN(X) ((X) * 100)

/* Wio Tracker 1110 onboard antenna gain: -1 dBi */
#define WIO_ANTENNA_GAIN_DBI (-1)

static struct sid_sub_ghz_links_config wio_sub_ghz_link_config = {
    .enable_link_metrics = true,
    .metrics_msg_retries = 3,
    .sar_dcr = 100,
    .registration_config = {
        .enable = true,
        .periodicity_s = UINT32_MAX,
    },
    /* Use full +22dBm TX power for both FSK (link2) and LoRa (link3) */
    .link2_max_tx_power_in_dbm = RADIO_MAX_TX_POWER_WIO,
    .link3_max_tx_power_in_dbm = RADIO_MAX_TX_POWER_WIO,
};

/*
 * Override the weak function from Sidewalk SDK
 * Returns our custom config with +22dBm max TX power
 */
struct sid_sub_ghz_links_config *app_get_sub_ghz_config(void)
{
    return &wio_sub_ghz_link_config;
}
```

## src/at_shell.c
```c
// Copyright Amazon.com, Inc. or its affiliates. All Rights Reserved.
// SPDX-License-Identifier: MIT-0

#include <stdio.h>
#include <stdlib.h>
#include <string.h>
#include <sys/types.h>

#include <zephyr/kernel.h>
#include <zephyr/shell/shell.h>
#include "at_shell.h"

#include <zephyr/logging/log.h>
LOG_MODULE_REGISTER(at_shell, CONFIG_TRACKER_LOG_LEVEL);

#define AT_STACK_SIZE 5120
#define AT_WORKER_PRIO 5

struct k_work_q at_work_q;
K_THREAD_STACK_DEFINE(at_work_q_stack, AT_STACK_SIZE);

static at_ctx_t *atcontext;

static int cmd_enter_bootloader(const struct shell *sh, size_t argc, char **argv) {
	// see https://github.com/adafruit/Adafruit_nRF52_Bootloader/tree/7210c3914db0cf28e7b2c9850293817338259757#how-to-use
	NRF_POWER->GPREGRET = 0x57; // 0xA8 OTA, 0x4e Serial
	NVIC_SystemReset();
	return 0;
}

static int cmd_config_radio(const struct shell *sh, size_t argc, char **argv) {

	if (strlen(argv[1]) != 1) {
		shell_error(sh, "invalid radio type");
		return CMD_RETURN_ARGUMENT_INVALID;
	}

	switch (argv[1][0]) {
	case '1':
		atcontext->at_conf.sid_link_type = BLE_LM;
		shell_print(sh, "BLE radio type set for Sidewalk communications.");
		at_event_send(EVENT_RADIO_SWITCH);
		break;
	case '2':
		atcontext->at_conf.sid_link_type = LORA_LM;
		shell_print(sh, "LoRa radio type set for Sidewalk communications.");
		at_event_send(EVENT_RADIO_SWITCH);
		break;
	default:
		shell_error(sh, "radio type invalid. 1=ble, 2=lora");
		return CMD_RETURN_ARGUMENT_INVALID;
	}

	return 0;
}

static int cmd_trigger_scan(const struct shell *sh, size_t argc, char **argv) {
	shell_print(sh, "Triggering location scan...");
	at_event_send(EVENT_SCAN_LOC);
	return 0;
}

static int cmd_print_status(const struct shell *sh, size_t argc, char **argv) {
	shell_print(sh, "Sidewalk State: %d", atcontext->sidewalk_state);
	shell_print(sh, "Link Type: %s", 
		(atcontext->at_conf.sid_link_type == BLE_LM) ? "BLE" : 
		(atcontext->at_conf.sid_link_type == LORA_LM) ? "LoRa" : "Unknown");
	shell_print(sh, "Battery: %d%%", atcontext->sensors.batt);
	shell_print(sh, "Temperature: %.1f C", atcontext->sensors.temp);
	shell_print(sh, "Humidity: %.1f %%", atcontext->sensors.hum);
	return 0;
}

static int cmd_factory_reset(const struct shell *sh, size_t argc, char **argv) {
	shell_warn(sh, "Factory reset will clear Sidewalk registration!");
	shell_warn(sh, "Device will need to re-register with the Sidewalk network.");
	shell_print(sh, "Initiating factory reset...");
	at_event_send(EVENT_FACTORY_RESET);
	return 0;
}

SHELL_STATIC_SUBCMD_SET_CREATE(
	sub_config, 
	SHELL_CMD_ARG(radio, NULL, "set sidewalk radio to use: 1=ble, 2=lora", cmd_config_radio, 2, 0),
	SHELL_SUBCMD_SET_END
);

SHELL_STATIC_SUBCMD_SET_CREATE(asset_tracker,
	SHELL_CMD_ARG(status, NULL, "Print device status", cmd_print_status, 1, 0),
	SHELL_CMD_ARG(config, &sub_config, "Device config menu", NULL, 1, 0),
	SHELL_CMD_ARG(scan, NULL, "Trigger location scan", cmd_trigger_scan, 1, 0),
	SHELL_CMD_ARG(factory_reset, NULL, "Factory reset - clears Sidewalk registration, forces re-registration", cmd_factory_reset, 1, 0),
	SHELL_CMD_ARG(enter_bootloader, NULL, "Enter bootloader for UF2 flashing", cmd_enter_bootloader, 1, 0),
	SHELL_SUBCMD_SET_END
);

SHELL_CMD_REGISTER(tracker, &asset_tracker, "Asset tracker commands", NULL);

void AT_CLI_init(at_ctx_t *at_context)
{
	atcontext = at_context;

	k_work_queue_init(&at_work_q);

	k_work_queue_start(&at_work_q, at_work_q_stack,
			   K_THREAD_STACK_SIZEOF(at_work_q_stack), AT_WORKER_PRIO, NULL);
}
```
